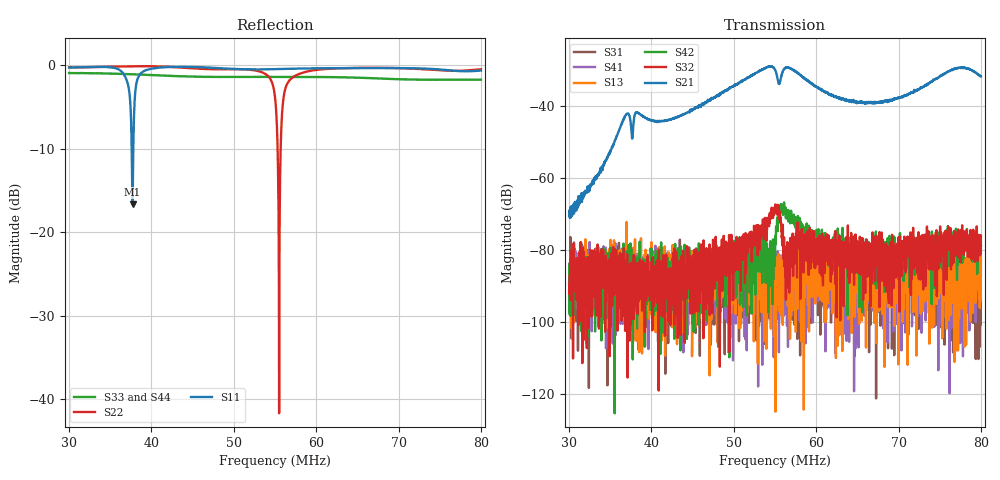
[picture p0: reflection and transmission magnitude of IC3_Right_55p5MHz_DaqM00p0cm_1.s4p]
#  HZ  S  DB  R  50.00
! Rohde & Schwarz Vector Network Analyzer
! Rohde-Schwarz,ZNB8-4Port,1311601044102961,2.82
! Created: UTC 2/13/2019, 11:45:40 AM
! freq[Hz]  db:S11  ang:S11  db:S12  ang:S12  db:S13  ang:S13  db:S14  ang:S14
!  db:S21  ang:S21  db:S22  ang:S22  db:S23  ang:S23  db:S24  ang:S24
!  db:S31  ang:S31  db:S32  ang:S32  db:S33  ang:S33  db:S34  ang:S34
!  db:S41  ang:S41  db:S42  ang:S42  db:S43  ang:S43  db:S44  ang:S44
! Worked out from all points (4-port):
!   2001 points, 30 MHz to 80 MHz, reference 50 ohm
!   strongest paths, dB at 30 MHz, 42.5 MHz, 55 MHz, 67.5 MHz, 80 MHz:
!     S21: -70.2, -43.6, -29.9, -39.1, -31.8
!     S32: -89.5, -87.9, -69.1, -82.3, -76.1
!     S42: -91.2, -87.3, -84.4, -81.1, -78.8
!     S13: -85.0, -84.6, -83.0, -93.5, -77.8
!     S41: -97.4, -86.3, -87.2, -84.2, -94.5
!     S31: -93.4, -85.0, -83.7, -87.5, -82.7
!   lowest |S11| = -16.6 dB at 37.7 MHz (marker M1), VSWR 1.35, Z = 65 - j8.03 ohm
!   |S11| at or under -10 dB: 37.6 MHz to 37.79 MHz (195 kHz wide, 0.517 % of centre)
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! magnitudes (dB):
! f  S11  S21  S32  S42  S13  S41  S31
! 30 MHz  -0.3  -70.2  -89.5  -91.2  -85.0  -97.4  -93.4
! 37.7 MHz  -16.6  -48.6  -86.6  -95.4  -93.1  -85.4  -80.2
! 54.02 MHz  -0.5  -29.3  -74.5  -81.6  -83.8  -78.2  -99.8
! 55.5 MHz  -0.5  -33.9  -71.2  -68.0  -84.8  -86.2  -85.4
! 57.33 MHz  -0.4  -30.1  -76.4  -72.2  -84.3  -88.3  -91.3
! 66.05 MHz  -0.4  -39.0  -78.6  -77.1  -107.2  -93.3  -92.3
! 80 MHz  -0.6  -31.8  -76.1  -78.8  -77.8  -94.5  -82.7
